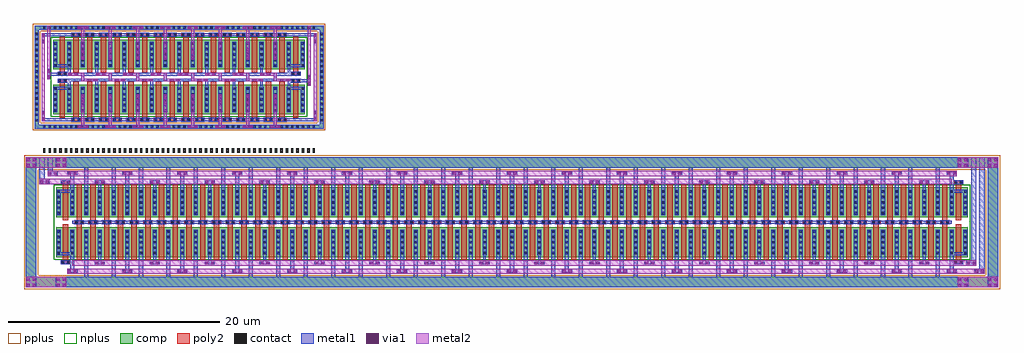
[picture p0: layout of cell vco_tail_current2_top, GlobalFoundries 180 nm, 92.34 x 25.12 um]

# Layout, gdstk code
from math import pi, radians
import gdstk
lib = gdstk.Library(unit=1e-6, precision=5e-09)
def R(c, l, rs):  # rectangles x0, y0, x1, y1
    for r in rs: c.add(gdstk.rectangle(r[:2], r[2:], *l))
def A(c, l, x, y, w, h, nx, ny, dx, dy):  # array of equal rectangles
    R(c, l, [(x+i*dx, y+j*dy, x+i*dx+w, y+j*dy+h) for i in range(nx) for j in range(ny)])
comp = (22, 0)
poly2 = (30, 0)
pplus = (31, 0)
nplus = (32, 0)
contact = (33, 0)
metal1 = (34, 0)
via1 = (35, 0)
metal2 = (36, 0)

vco_tail_current_ncell2_ = lib.new_cell('vco_tail_current_ncell2_1$2$1')
R(vco_tail_current_ncell2_, comp, [(0,0.3,0.42,3.12), (0.42,0.3,1.3,3.12), (1.3,0.3,1.72,3.12)])
R(vco_tail_current_ncell2_, poly2, [(0.61,0,1.11,3.42)])
A(vco_tail_current_ncell2_, contact, 0.1, 0.58, 0.22, 0.22, 1, 5, 0, 0.51)
A(vco_tail_current_ncell2_, contact, 1.4, 0.58, 0.22, 0.22, 1, 5, 0, 0.51)
R(vco_tail_current_ncell2_, metal1, [(0.02,0.5,0.4,2.92), (1.32,0.5,1.7,2.92)])

c_vco_tail_current_ncell2_ = lib.new_cell('vco_tail_current_ncell2_4$1')
A(c_vco_tail_current_ncell2_, poly2, 0.425, 3.42, 0.87, 0.36, 4, 1, 1.3, 0)
R(c_vco_tail_current_ncell2_, contact, [(0.495,3.49,0.715,3.71), (1.005,3.49,1.225,3.71), (1.795,3.49,2.015,3.71), (2.305,3.49,2.525,3.71), (3.095,3.49,3.315,3.71), (3.605,3.49,3.825,3.71), (4.395,3.49,4.615,3.71), (4.905,3.49,5.125,3.71)])
A(c_vco_tail_current_ncell2_, metal1, 0.415, 3.41, 0.89, 0.38, 4, 1, 1.3, 0)
c_vco_tail_current_ncell2_.add(gdstk.Reference(vco_tail_current_ncell2_, (0,0)))
c_vco_tail_current_ncell2_.add(gdstk.Reference(vco_tail_current_ncell2_, (1.3,0)))
c_vco_tail_current_ncell2_.add(gdstk.Reference(vco_tail_current_ncell2_, (2.6,0)))
c_vco_tail_current_ncell2_.add(gdstk.Reference(vco_tail_current_ncell2_, (3.9,0)))

c_vco_tail_current_ncell2__ = lib.new_cell('vco_tail_current_ncell2_4_4')
R(c_vco_tail_current_ncell2__, via1, [(0.1,1.57,0.36,1.83), (0.62,1.57,0.88,1.83), (5.3,1.57,5.56,1.83), (5.82,1.57,6.08,1.83), (2.695,2.35,2.955,2.61), (3.215,2.35,3.475,2.61), (2.695,10.05,2.955,10.31), (3.215,10.05,3.475,10.31), (0.1,10.83,0.36,11.09), (0.62,10.83,0.88,11.09), (5.3,10.83,5.56,11.09), (5.82,10.83,6.08,11.09)])
c_vco_tail_current_ncell2__.add(gdstk.FlexPath([(0,10.96),(0.98,10.96)], 0.28, ends="flush", simple_path=True, layer=34, datatype=0))  # metal1
c_vco_tail_current_ncell2__.add(gdstk.FlexPath([(5.2,10.96),(6.18,10.96)], 0.28, ends="flush", simple_path=True, layer=34, datatype=0))  # metal1
c_vco_tail_current_ncell2__.add(gdstk.FlexPath([(0.485,11.99),(5.685,11.99)], 1, ends="flush", simple_path=True, layer=34, datatype=0))  # metal1
c_vco_tail_current_ncell2__.add(gdstk.FlexPath([(2.595,10.18),(3.575,10.18)], 0.28, ends="flush", simple_path=True, layer=34, datatype=0))  # metal1
c_vco_tail_current_ncell2__.add(gdstk.FlexPath([(3.085,9.43),(3.085,10.04)], 0.28, ends="flush", simple_path=True, layer=34, datatype=0))  # metal1
c_vco_tail_current_ncell2__.add(gdstk.FlexPath([(0.485,9.43),(0.485,10.82)], 0.38, ends="flush", simple_path=True, layer=34, datatype=0))  # metal1
c_vco_tail_current_ncell2__.add(gdstk.FlexPath([(5.685,9.43),(5.685,10.82)], 0.38, ends="flush", simple_path=True, layer=34, datatype=0))  # metal1
c_vco_tail_current_ncell2__.add(gdstk.FlexPath([(1.785,11.49),(1.785,9.43)], 0.38, ends="flush", simple_path=True, layer=34, datatype=0))  # metal1
c_vco_tail_current_ncell2__.add(gdstk.FlexPath([(4.385,11.49),(4.385,9.43)], 0.38, ends="flush", simple_path=True, layer=34, datatype=0))  # metal1
c_vco_tail_current_ncell2__.add(gdstk.FlexPath([(0,1.7),(0.98,1.7)], 0.28, ends="flush", simple_path=True, layer=34, datatype=0))  # metal1
c_vco_tail_current_ncell2__.add(gdstk.FlexPath([(5.2,1.7),(6.18,1.7)], 0.28, ends="flush", simple_path=True, layer=34, datatype=0))  # metal1
c_vco_tail_current_ncell2__.add(gdstk.FlexPath([(0.485,0.67),(5.685,0.67)], 1, ends="flush", simple_path=True, layer=34, datatype=0))  # metal1
c_vco_tail_current_ncell2__.add(gdstk.FlexPath([(2.595,2.48),(3.575,2.48)], 0.28, ends="flush", simple_path=True, layer=34, datatype=0))  # metal1
c_vco_tail_current_ncell2__.add(gdstk.FlexPath([(3.085,3.23),(3.085,2.62)], 0.28, ends="flush", simple_path=True, layer=34, datatype=0))  # metal1
c_vco_tail_current_ncell2__.add(gdstk.FlexPath([(0.485,3.23),(0.485,1.84)], 0.38, ends="flush", simple_path=True, layer=34, datatype=0))  # metal1
c_vco_tail_current_ncell2__.add(gdstk.FlexPath([(5.685,3.23),(5.685,1.84)], 0.38, ends="flush", simple_path=True, layer=34, datatype=0))  # metal1
c_vco_tail_current_ncell2__.add(gdstk.FlexPath([(1.785,1.17),(1.785,3.23)], 0.38, ends="flush", simple_path=True, layer=34, datatype=0))  # metal1
c_vco_tail_current_ncell2__.add(gdstk.FlexPath([(4.385,1.17),(4.385,3.23)], 0.38, ends="flush", simple_path=True, layer=34, datatype=0))  # metal1
c_vco_tail_current_ncell2__.add(gdstk.FlexPath([(5.685,6.33),(0.485,6.33)], 0.28, ends="flush", simple_path=True, layer=34, datatype=0))  # metal1
c_vco_tail_current_ncell2__.add(gdstk.FlexPath([(0.485,11.99),(5.685,11.99)], 1, ends="flush", simple_path=True, layer=22, datatype=0))  # comp
c_vco_tail_current_ncell2__.add(gdstk.FlexPath([(0.485,0.67),(5.685,0.67)], 1, ends="flush", simple_path=True, layer=22, datatype=0))  # comp
c_vco_tail_current_ncell2__.add(gdstk.FlexPath([(0.485,10.18),(5.685,10.18)], 0.5, ends="flush", simple_path=True, layer=36, datatype=0))  # metal2
c_vco_tail_current_ncell2__.add(gdstk.FlexPath([(0.485,2.48),(5.685,2.48)], 0.5, ends="flush", simple_path=True, layer=36, datatype=0))  # metal2
c_vco_tail_current_ncell2__.add(gdstk.FlexPath([(0.485,10.96),(5.685,10.96)], 0.5, ends="flush", simple_path=True, layer=36, datatype=0))  # metal2
c_vco_tail_current_ncell2__.add(gdstk.FlexPath([(0.485,1.7),(5.685,1.7)], 0.5, ends="flush", simple_path=True, layer=36, datatype=0))  # metal2
c_vco_tail_current_ncell2__.add(gdstk.FlexPath([(0.485,11.99),(5.685,11.99)], 1.34, ends="flush", simple_path=True, layer=31, datatype=0))  # pplus
c_vco_tail_current_ncell2__.add(gdstk.FlexPath([(0.485,0.67),(5.685,0.67)], 1.34, ends="flush", simple_path=True, layer=31, datatype=0))  # pplus
c_vco_tail_current_ncell2__.add(gdstk.Reference(c_vco_tail_current_ncell2_, (0.275,2.73)))
c_vco_tail_current_ncell2__.add(gdstk.Reference(c_vco_tail_current_ncell2_, (0.275,9.93), x_reflection=True))

c_vco_tail_current_ncell2___ = lib.new_cell('vco_tail_current_ncell2_1$1')
R(c_vco_tail_current_ncell2___, comp, [(0,0.3,0.42,3.12), (0.42,0.3,1.3,3.12), (1.3,0.3,1.72,3.12)])
R(c_vco_tail_current_ncell2___, poly2, [(0.61,0,1.11,3.42)])
A(c_vco_tail_current_ncell2___, contact, 0.1, 0.58, 0.22, 0.22, 1, 5, 0, 0.51)
A(c_vco_tail_current_ncell2___, contact, 1.4, 0.58, 0.22, 0.22, 1, 5, 0, 0.51)
R(c_vco_tail_current_ncell2___, metal1, [(0.02,0.5,0.4,2.92), (1.32,0.5,1.7,2.92)])

c_vco_tail_current_ncell2____ = lib.new_cell('vco_tail_current_ncell2_1_2')
R(c_vco_tail_current_ncell2____, poly2, [(0.41,0.01,1.28,0.37), (0.41,0.01,1.28,0.37), (0.41,7.57,1.28,7.93), (0.41,7.57,1.28,7.93)])
R(c_vco_tail_current_ncell2____, contact, [(0.48,0.08,0.7,0.3), (0.48,0.08,0.7,0.3), (0.99,0.08,1.21,0.3), (0.99,0.08,1.21,0.3), (0.48,7.64,0.7,7.86), (0.48,7.64,0.7,7.86), (0.99,7.64,1.21,7.86), (0.99,7.64,1.21,7.86)])
R(c_vco_tail_current_ncell2____, metal1, [(0.4,0,1.29,0.38), (0.4,0,1.29,0.38), (0.4,7.56,1.29,7.94), (0.4,7.56,1.29,7.94)])
c_vco_tail_current_ncell2____.add(gdstk.FlexPath([(1.32,1.01),(0.4,1.01)], 0.28, ends="flush", simple_path=True, layer=34, datatype=0))  # metal1
c_vco_tail_current_ncell2____.add(gdstk.FlexPath([(1.32,6.93),(0.4,6.93)], 0.28, ends="flush", simple_path=True, layer=34, datatype=0))  # metal1
c_vco_tail_current_ncell2____.add(gdstk.Reference(c_vco_tail_current_ncell2___, (0,0.37)))
c_vco_tail_current_ncell2____.add(gdstk.Reference(c_vco_tail_current_ncell2___, (0,7.57), x_reflection=True))

m1_m2 = lib.new_cell('M1_M2')
R(m1_m2, via1, [(0.1,0.01,0.36,0.27), (0.62,0.01,0.88,0.27)])
m1_m2.add(gdstk.FlexPath([(0,0.14),(0.98,0.14)], 0.28, ends="flush", simple_path=True, layer=34, datatype=0))  # metal1
m1_m2.add(gdstk.FlexPath([(0,0.14),(0.98,0.14)], 0.28, ends="flush", simple_path=True, layer=36, datatype=0))  # metal2

d2s_tail_current_ncell_1 = lib.new_cell('d2s_tail_current_ncell_1$2')
R(d2s_tail_current_ncell_1, comp, [(0,0.3,0.42,3.12), (0.42,0.3,1.3,3.12), (1.3,0.3,1.72,3.12)])
R(d2s_tail_current_ncell_1, poly2, [(0.61,0,1.11,3.42)])
A(d2s_tail_current_ncell_1, contact, 0.1, 0.58, 0.22, 0.22, 1, 5, 0, 0.51)
A(d2s_tail_current_ncell_1, contact, 1.4, 0.58, 0.22, 0.22, 1, 5, 0, 0.51)
R(d2s_tail_current_ncell_1, metal1, [(0.02,0.5,0.4,2.92), (1.32,0.5,1.7,2.92)])

c_d2s_tail_current_ncell_1 = lib.new_cell('d2s_tail_current_ncell_1$1$1$1')
R(c_d2s_tail_current_ncell_1, comp, [(0,0.3,0.42,3.12), (0.42,0.3,1.3,3.12), (1.3,0.3,1.72,3.12)])
R(c_d2s_tail_current_ncell_1, poly2, [(0.61,0,1.11,3.42)])
A(c_d2s_tail_current_ncell_1, contact, 0.1, 0.58, 0.22, 0.22, 1, 5, 0, 0.51)
A(c_d2s_tail_current_ncell_1, contact, 1.4, 0.58, 0.22, 0.22, 1, 5, 0, 0.51)
R(c_d2s_tail_current_ncell_1, metal1, [(0.02,0.5,0.4,2.92), (1.32,0.5,1.7,2.92)])

d2s_tail_current_ncell_4 = lib.new_cell('d2s_tail_current_ncell_4$1$1')
A(d2s_tail_current_ncell_4, poly2, 0.425, 3.42, 0.87, 0.36, 4, 1, 1.3, 0)
R(d2s_tail_current_ncell_4, contact, [(0.495,3.49,0.715,3.71), (1.005,3.49,1.225,3.71), (1.795,3.49,2.015,3.71), (2.305,3.49,2.525,3.71), (3.095,3.49,3.315,3.71), (3.605,3.49,3.825,3.71), (4.395,3.49,4.615,3.71), (4.905,3.49,5.125,3.71)])
A(d2s_tail_current_ncell_4, metal1, 0.415, 3.41, 0.89, 0.38, 4, 1, 1.3, 0)
d2s_tail_current_ncell_4.add(gdstk.Reference(c_d2s_tail_current_ncell_1, (0,0)))
d2s_tail_current_ncell_4.add(gdstk.Reference(c_d2s_tail_current_ncell_1, (1.3,0)))
d2s_tail_current_ncell_4.add(gdstk.Reference(c_d2s_tail_current_ncell_1, (2.6,0)))
d2s_tail_current_ncell_4.add(gdstk.Reference(c_d2s_tail_current_ncell_1, (3.9,0)))

c_d2s_tail_current_ncell_4 = lib.new_cell('d2s_tail_current_ncell_4_4$1')
R(c_d2s_tail_current_ncell_4, via1, [(1.12,0.23,1.38,0.49), (1.64,0.23,1.9,0.49), (3.72,0.23,3.98,0.49), (4.24,0.23,4.5,0.49), (1.38,2.52,1.64,2.78), (3.98,2.52,4.24,2.78), (1.38,3.04,1.64,3.3), (3.98,3.04,4.24,3.3), (2.03,4.63,2.29,4.89), (2.55,4.63,2.81,4.89), (4.63,4.63,4.89,4.89), (5.15,4.63,5.41,4.89), (0.21,5.19,0.47,5.45), (0.73,5.19,0.99,5.45), (2.81,5.19,3.07,5.45), (3.33,5.19,3.59,5.45), (1.38,6.78,1.64,7.04), (3.98,6.78,4.24,7.04), (1.38,7.3,1.64,7.56), (3.98,7.3,4.24,7.56), (1.12,9.59,1.38,9.85), (1.64,9.59,1.9,9.85), (3.72,9.59,3.98,9.85), (4.24,9.59,4.5,9.85)])
c_d2s_tail_current_ncell_4.add(gdstk.FlexPath([(1.305,1.02),(5.41,1.02)], 0.28, ends="flush", simple_path=True, layer=34, datatype=0))  # metal1
c_d2s_tail_current_ncell_4.add(gdstk.FlexPath([(2.81,5.96),(2.81,5.46)], 0.28, ends="flush", simple_path=True, layer=34, datatype=0))  # metal1
c_d2s_tail_current_ncell_4.add(gdstk.FlexPath([(0.21,9.72),(5.41,9.72)], 0.38, ends="flush", simple_path=True, layer=34, datatype=0))  # metal1
c_d2s_tail_current_ncell_4.add(gdstk.FlexPath([(2.81,4.12),(2.81,4.62)], 0.28, ends="flush", simple_path=True, layer=34, datatype=0))  # metal1
c_d2s_tail_current_ncell_4.add(gdstk.FlexPath([(0.21,4.12),(0.21,4.62)], 0.28, ends="flush", simple_path=True, layer=34, datatype=0))  # metal1
c_d2s_tail_current_ncell_4.add(gdstk.FlexPath([(0.21,5.96),(0.21,5.46)], 0.28, ends="flush", simple_path=True, layer=34, datatype=0))  # metal1
c_d2s_tail_current_ncell_4.add(gdstk.FlexPath([(2.91,5.32),(1.51,5.32),(1.51,4.76),(0.07,4.76)], 0.28, ends="flush", simple_path=True, layer=34, datatype=0))  # metal1
c_d2s_tail_current_ncell_4.add(gdstk.FlexPath([(1.09,5.32),(0.07,5.32)], 0.28, ends="flush", simple_path=True, layer=34, datatype=0))  # metal1
c_d2s_tail_current_ncell_4.add(gdstk.FlexPath([(5.41,4.12),(5.41,4.62)], 0.28, ends="flush", simple_path=True, layer=34, datatype=0))  # metal1
c_d2s_tail_current_ncell_4.add(gdstk.FlexPath([(5.55,5.32),(4.11,5.32),(4.11,4.76),(2.71,4.76)], 0.28, ends="flush", simple_path=True, layer=34, datatype=0))  # metal1
c_d2s_tail_current_ncell_4.add(gdstk.FlexPath([(3.69,5.32),(2.71,5.32)], 0.28, ends="flush", simple_path=True, layer=34, datatype=0))  # metal1
c_d2s_tail_current_ncell_4.add(gdstk.FlexPath([(5.41,5.96),(5.41,5.46)], 0.28, ends="flush", simple_path=True, layer=34, datatype=0))  # metal1
c_d2s_tail_current_ncell_4.add(gdstk.FlexPath([(2.81,4.12),(2.81,4.62)], 0.28, ends="flush", simple_path=True, layer=34, datatype=0))  # metal1
c_d2s_tail_current_ncell_4.add(gdstk.FlexPath([(5.55,4.76),(4.53,4.76)], 0.28, ends="flush", simple_path=True, layer=34, datatype=0))  # metal1
c_d2s_tail_current_ncell_4.add(gdstk.FlexPath([(2.81,5.96),(2.81,5.46)], 0.28, ends="flush", simple_path=True, layer=34, datatype=0))  # metal1
c_d2s_tail_current_ncell_4.add(gdstk.FlexPath([(2.91,4.76),(1.93,4.76)], 0.28, ends="flush", simple_path=True, layer=34, datatype=0))  # metal1
c_d2s_tail_current_ncell_4.add(gdstk.FlexPath([(1.305,9.06),(5.41,9.06)], 0.28, ends="flush", simple_path=True, layer=34, datatype=0))  # metal1
c_d2s_tail_current_ncell_4.add(gdstk.FlexPath([(0.21,0.36),(5.41,0.36)], 0.38, ends="flush", simple_path=True, layer=34, datatype=0))  # metal1
c_d2s_tail_current_ncell_4.add(gdstk.FlexPath([(0.21,9.72),(5.41,9.72)], 0.38, ends="flush", simple_path=True, layer=22, datatype=0))  # comp
c_d2s_tail_current_ncell_4.add(gdstk.FlexPath([(0.21,0.36),(5.41,0.36)], 0.38, ends="flush", simple_path=True, layer=22, datatype=0))  # comp
c_d2s_tail_current_ncell_4.add(gdstk.FlexPath([(2.91,4.76),(1.51,4.76),(1.51,5.32),(0.11,5.32)], 0.28, ends="flush", simple_path=True, layer=36, datatype=0))  # metal2
c_d2s_tail_current_ncell_4.add(gdstk.FlexPath([(5.51,4.76),(4.11,4.76),(4.11,5.32),(2.71,5.32)], 0.28, ends="flush", simple_path=True, layer=36, datatype=0))  # metal2
c_d2s_tail_current_ncell_4.add(gdstk.FlexPath([(4.11,6.68),(4.11,7.66)], 0.28, ends="flush", simple_path=True, layer=36, datatype=0))  # metal2
c_d2s_tail_current_ncell_4.add(gdstk.FlexPath([(1.51,6.68),(1.51,7.66)], 0.28, ends="flush", simple_path=True, layer=36, datatype=0))  # metal2
c_d2s_tail_current_ncell_4.add(gdstk.FlexPath([(4.11,2.42),(4.11,3.4)], 0.28, ends="flush", simple_path=True, layer=36, datatype=0))  # metal2
c_d2s_tail_current_ncell_4.add(gdstk.FlexPath([(1.51,2.42),(1.51,3.4)], 0.28, ends="flush", simple_path=True, layer=36, datatype=0))  # metal2
c_d2s_tail_current_ncell_4.add(gdstk.FlexPath([(1.02,9.72),(2,9.72)], 0.28, ends="flush", simple_path=True, layer=36, datatype=0))  # metal2
c_d2s_tail_current_ncell_4.add(gdstk.FlexPath([(1.51,7.66),(1.51,9.58)], 0.28, ends="flush", simple_path=True, layer=36, datatype=0))  # metal2
c_d2s_tail_current_ncell_4.add(gdstk.FlexPath([(4.11,7.66),(4.11,9.58)], 0.28, ends="flush", simple_path=True, layer=36, datatype=0))  # metal2
c_d2s_tail_current_ncell_4.add(gdstk.FlexPath([(3.62,9.72),(4.6,9.72)], 0.28, ends="flush", simple_path=True, layer=36, datatype=0))  # metal2
c_d2s_tail_current_ncell_4.add(gdstk.FlexPath([(1.02,0.36),(2,0.36)], 0.28, ends="flush", simple_path=True, layer=36, datatype=0))  # metal2
c_d2s_tail_current_ncell_4.add(gdstk.FlexPath([(1.51,2.42),(1.51,0.5)], 0.28, ends="flush", simple_path=True, layer=36, datatype=0))  # metal2
c_d2s_tail_current_ncell_4.add(gdstk.FlexPath([(4.11,2.42),(4.11,0.5)], 0.28, ends="flush", simple_path=True, layer=36, datatype=0))  # metal2
c_d2s_tail_current_ncell_4.add(gdstk.FlexPath([(3.62,0.36),(4.6,0.36)], 0.28, ends="flush", simple_path=True, layer=36, datatype=0))  # metal2
c_d2s_tail_current_ncell_4.add(gdstk.FlexPath([(0.21,9.72),(5.41,9.72)], 0.72, ends="flush", simple_path=True, layer=31, datatype=0))  # pplus
c_d2s_tail_current_ncell_4.add(gdstk.FlexPath([(0.21,0.36),(5.41,0.36)], 0.72, ends="flush", simple_path=True, layer=31, datatype=0))  # pplus
c_d2s_tail_current_ncell_4.add(gdstk.Reference(d2s_tail_current_ncell_4, (0,5.46)))
c_d2s_tail_current_ncell_4.add(gdstk.Reference(d2s_tail_current_ncell_4, (0,4.62), x_reflection=True))

m1_m2_1 = lib.new_cell('M1_M2$1')
R(m1_m2_1, via1, [(0.1,0.01,0.36,0.27), (0.62,0.01,0.88,0.27)])
m1_m2_1.add(gdstk.FlexPath([(0,0.14),(0.98,0.14)], 0.28, ends="flush", simple_path=True, layer=34, datatype=0))  # metal1
m1_m2_1.add(gdstk.FlexPath([(0,0.14),(0.98,0.14)], 0.28, ends="flush", simple_path=True, layer=36, datatype=0))  # metal2

vco_tail_current2_top = lib.new_cell('vco_tail_current2_top')
R(vco_tail_current2_top, poly2, [(9.115,35.71,9.985,36.07), (31.215,35.71,32.085,36.07), (9.115,36.37,9.985,36.73), (31.215,36.37,32.085,36.73)])
R(vco_tail_current2_top, nplus, [(8.75,18.935,95.45,26.015), (8.45,32.44,32.75,40)])
A(vco_tail_current2_top, contact, 7.74, 29.05, 0.22, 0.22, 51, 2, 0.51, 0.22)
A(vco_tail_current2_top, contact, 7.74, 31.43, 0.22, 0.22, 51, 2, 0.51, 9.36)
A(vco_tail_current2_top, contact, 7.01, 32.03, 0.22, 0.22, 1, 17, 0, 0.51)
A(vco_tail_current2_top, contact, 33.97, 32.03, 0.22, 0.22, 1, 17, 0, 0.51)
R(vco_tail_current2_top, contact, [(9.185,35.78,9.405,36), (9.695,35.78,9.915,36), (31.285,35.78,31.505,36), (31.795,35.78,32.015,36), (9.185,36.44,9.405,36.66), (9.695,36.44,9.915,36.66), (31.285,36.44,31.505,36.66), (31.795,36.44,32.015,36.66)])
R(vco_tail_current2_top, metal1, [(95.84,17.595,96.32,18.095), (95.06,18.375,95.54,18.875), (7.88,26.075,8.36,26.575), (8.66,26.855,9.14,27.355), (9.105,35.7,9.995,36.08), (9.995,35.7,10.06,36.08), (31.14,35.7,31.205,36.08), (31.205,35.7,32.095,36.08), (9.105,36.36,9.995,36.74), (9.995,36.36,10.06,36.74), (31.14,36.36,31.205,36.74), (31.205,36.36,32.095,36.74)])
vco_tail_current2_top.add(gdstk.FlexPath([(8.41,26.855),(8.41,28.635)], 0.5, ends="flush", simple_path=True, layer=34, datatype=0))  # metal1
vco_tail_current2_top.add(gdstk.FlexPath([(7.63,26.075),(7.63,28.635)], 0.5, ends="flush", simple_path=True, layer=34, datatype=0))  # metal1
vco_tail_current2_top.add(gdstk.FlexPath([(96.57,17.595),(96.57,28.635)], 0.5, ends="flush", simple_path=True, layer=34, datatype=0))  # metal1
vco_tail_current2_top.add(gdstk.FlexPath([(95.79,18.375),(95.79,28.635)], 0.5, ends="flush", simple_path=True, layer=34, datatype=0))  # metal1
vco_tail_current2_top.add(gdstk.FlexPath([(6.6,28.635),(6.6,16.315)], 1, ends="flush", simple_path=True, layer=34, datatype=0))  # metal1
vco_tail_current2_top.add(gdstk.FlexPath([(10.5,28.135),(8.94,28.135)], 1, ends="flush", simple_path=True, layer=34, datatype=0))  # metal1
vco_tail_current2_top.add(gdstk.FlexPath([(10.5,16.815),(8.94,16.815)], 1, ends="flush", simple_path=True, layer=34, datatype=0))  # metal1
vco_tail_current2_top.add(gdstk.FlexPath([(10.5,16.815),(8.94,16.815)], 1, ends="flush", simple_path=True, layer=34, datatype=0))  # metal1
vco_tail_current2_top.add(gdstk.FlexPath([(97.6,28.635),(97.6,16.315)], 1, ends="flush", simple_path=True, layer=34, datatype=0))  # metal1
vco_tail_current2_top.add(gdstk.FlexPath([(93.7,28.135),(95.26,28.135)], 1, ends="flush", simple_path=True, layer=34, datatype=0))  # metal1
vco_tail_current2_top.add(gdstk.FlexPath([(93.7,16.815),(95.26,16.815)], 1, ends="flush", simple_path=True, layer=34, datatype=0))  # metal1
vco_tail_current2_top.add(gdstk.FlexPath([(93.7,16.815),(95.26,16.815)], 1, ends="flush", simple_path=True, layer=34, datatype=0))  # metal1
vco_tail_current2_top.add(gdstk.FlexPath([(31,40.9),(34.08,40.9),(34.08,31.54),(31,31.54)], 0.38, ends="flush", simple_path=True, layer=34, datatype=0))  # metal1
vco_tail_current2_top.add(gdstk.FlexPath([(10.2,40.9),(7.12,40.9),(7.12,31.54),(10.2,31.54)], 0.38, ends="flush", simple_path=True, layer=34, datatype=0))  # metal1
vco_tail_current2_top.add(gdstk.FlexPath([(20.395,40.24),(20.805,40.24)], 0.28, ends="flush", simple_path=True, layer=34, datatype=0))  # metal1
vco_tail_current2_top.add(gdstk.FlexPath([(20.395,32.2),(20.805,32.2)], 0.28, ends="flush", simple_path=True, layer=34, datatype=0))  # metal1
vco_tail_current2_top.add(gdstk.FlexPath([(32.11,37.28),(31.19,37.28)], 0.28, ends="flush", simple_path=True, layer=34, datatype=0))  # metal1
vco_tail_current2_top.add(gdstk.FlexPath([(32.11,35.16),(31.19,35.16)], 0.28, ends="flush", simple_path=True, layer=34, datatype=0))  # metal1
vco_tail_current2_top.add(gdstk.FlexPath([(9.09,37.28),(10.01,37.28)], 0.28, ends="flush", simple_path=True, layer=34, datatype=0))  # metal1
vco_tail_current2_top.add(gdstk.FlexPath([(9.09,35.16),(10.01,35.16)], 0.28, ends="flush", simple_path=True, layer=34, datatype=0))  # metal1
vco_tail_current2_top.add(gdstk.FlexPath([(9.105,36.5),(8.43,36.5)], 0.28, ends="flush", simple_path=True, layer=34, datatype=0))  # metal1
vco_tail_current2_top.add(gdstk.FlexPath([(30.795,40.24),(33.61,40.24)], 0.28, ends="flush", simple_path=True, layer=34, datatype=0))  # metal1
vco_tail_current2_top.add(gdstk.FlexPath([(30.795,32.2),(33.61,32.2)], 0.28, ends="flush", simple_path=True, layer=34, datatype=0))  # metal1
vco_tail_current2_top.add(gdstk.FlexPath([(10.405,32.2),(7.59,32.2)], 0.28, ends="flush", simple_path=True, layer=34, datatype=0))  # metal1
vco_tail_current2_top.add(gdstk.FlexPath([(10.405,40.24),(7.59,40.24)], 0.28, ends="flush", simple_path=True, layer=34, datatype=0))  # metal1
vco_tail_current2_top.add(gdstk.FlexPath([(32.095,35.89),(32.77,35.89)], 0.28, ends="flush", simple_path=True, layer=34, datatype=0))  # metal1
vco_tail_current2_top.add(gdstk.FlexPath([(10.5,28.135),(6.6,28.135),(6.6,16.815),(10.5,16.815)], 1, ends="flush", simple_path=True, layer=22, datatype=0))  # comp
vco_tail_current2_top.add(gdstk.FlexPath([(93.7,28.135),(97.6,28.135),(97.6,16.815),(93.7,16.815)], 1, ends="flush", simple_path=True, layer=22, datatype=0))  # comp
vco_tail_current2_top.add(gdstk.FlexPath([(31,40.9),(34.08,40.9),(34.08,31.54),(31,31.54)], 0.38, ends="flush", simple_path=True, layer=22, datatype=0))  # comp
vco_tail_current2_top.add(gdstk.FlexPath([(10.2,40.9),(7.12,40.9),(7.12,31.54),(10.2,31.54)], 0.38, ends="flush", simple_path=True, layer=22, datatype=0))  # comp
vco_tail_current2_top.add(gdstk.FlexPath([(10.5,26.325),(7.38,26.325)], 0.5, ends="flush", simple_path=True, layer=36, datatype=0))  # metal2
vco_tail_current2_top.add(gdstk.FlexPath([(10.5,27.105),(8.16,27.105)], 0.5, ends="flush", simple_path=True, layer=36, datatype=0))  # metal2
vco_tail_current2_top.add(gdstk.FlexPath([(93.7,18.625),(96.04,18.625)], 0.5, ends="flush", simple_path=True, layer=36, datatype=0))  # metal2
vco_tail_current2_top.add(gdstk.FlexPath([(93.7,17.845),(96.82,17.845)], 0.5, ends="flush", simple_path=True, layer=36, datatype=0))  # metal2
vco_tail_current2_top.add(gdstk.FlexPath([(6.1,28.135),(9.94,28.135)], 1, ends="flush", simple_path=True, layer=36, datatype=0))  # metal2
vco_tail_current2_top.add(gdstk.FlexPath([(6.1,16.815),(9.94,16.815)], 1, ends="flush", simple_path=True, layer=36, datatype=0))  # metal2
vco_tail_current2_top.add(gdstk.FlexPath([(98.1,28.135),(94.26,28.135)], 1, ends="flush", simple_path=True, layer=36, datatype=0))  # metal2
vco_tail_current2_top.add(gdstk.FlexPath([(98.1,16.815),(94.26,16.815)], 1, ends="flush", simple_path=True, layer=36, datatype=0))  # metal2
vco_tail_current2_top.add(gdstk.FlexPath([(93.7,27.105),(94.195,27.105)], 0.5, ends="flush", simple_path=True, layer=36, datatype=0))  # metal2
vco_tail_current2_top.add(gdstk.FlexPath([(10.5,17.845),(10.015,17.845)], 0.5, ends="flush", simple_path=True, layer=36, datatype=0))  # metal2
vco_tail_current2_top.add(gdstk.FlexPath([(32.91,41.09),(32.91,35.4)], 0.28, ends="flush", simple_path=True, layer=36, datatype=0))  # metal2
vco_tail_current2_top.add(gdstk.FlexPath([(8.29,41.09),(8.29,36.01)], 0.28, ends="flush", simple_path=True, layer=36, datatype=0))  # metal2
vco_tail_current2_top.add(gdstk.FlexPath([(33.47,40.38),(33.47,32.06)], 0.28, ends="flush", simple_path=True, layer=36, datatype=0))  # metal2
vco_tail_current2_top.add(gdstk.FlexPath([(7.73,40.38),(7.73,32.06)], 0.28, ends="flush", simple_path=True, layer=36, datatype=0))  # metal2
vco_tail_current2_top.add(gdstk.FlexPath([(10.5,28.135),(6.6,28.135),(6.6,16.815),(10.5,16.815)], 1.34, ends="flush", simple_path=True, layer=31, datatype=0))  # pplus
vco_tail_current2_top.add(gdstk.FlexPath([(93.7,28.135),(97.6,28.135),(97.6,16.815),(93.7,16.815)], 1.34, ends="flush", simple_path=True, layer=31, datatype=0))  # pplus
vco_tail_current2_top.add(gdstk.FlexPath([(31,40.9),(34.08,40.9),(34.08,31.54),(31,31.54)], 0.72, ends="flush", simple_path=True, layer=31, datatype=0))  # pplus
vco_tail_current2_top.add(gdstk.FlexPath([(10.2,40.9),(7.12,40.9),(7.12,31.54),(10.2,31.54)], 0.72, ends="flush", simple_path=True, layer=31, datatype=0))  # pplus
vco_tail_current2_top.add(gdstk.Reference(c_vco_tail_current_ncell2__, (10.015,16.145)))
vco_tail_current2_top.add(gdstk.Reference(c_vco_tail_current_ncell2__, (15.215,16.145)))
vco_tail_current2_top.add(gdstk.Reference(c_vco_tail_current_ncell2__, (20.415,16.145)))
vco_tail_current2_top.add(gdstk.Reference(c_vco_tail_current_ncell2__, (25.615,16.145)))
vco_tail_current2_top.add(gdstk.Reference(c_vco_tail_current_ncell2__, (30.815,16.145)))
vco_tail_current2_top.add(gdstk.Reference(c_vco_tail_current_ncell2__, (36.015,16.145)))
vco_tail_current2_top.add(gdstk.Reference(c_vco_tail_current_ncell2__, (41.215,16.145)))
vco_tail_current2_top.add(gdstk.Reference(c_vco_tail_current_ncell2__, (46.415,16.145)))
vco_tail_current2_top.add(gdstk.Reference(c_vco_tail_current_ncell2__, (51.615,16.145)))
vco_tail_current2_top.add(gdstk.Reference(c_vco_tail_current_ncell2__, (56.815,16.145)))
vco_tail_current2_top.add(gdstk.Reference(c_vco_tail_current_ncell2__, (62.015,16.145)))
vco_tail_current2_top.add(gdstk.Reference(c_vco_tail_current_ncell2__, (67.215,16.145)))
vco_tail_current2_top.add(gdstk.Reference(c_vco_tail_current_ncell2__, (72.415,16.145)))
vco_tail_current2_top.add(gdstk.Reference(c_vco_tail_current_ncell2__, (77.615,16.145)))
vco_tail_current2_top.add(gdstk.Reference(c_vco_tail_current_ncell2__, (82.815,16.145)))
vco_tail_current2_top.add(gdstk.Reference(c_vco_tail_current_ncell2__, (88.015,16.145)))
vco_tail_current2_top.add(gdstk.Reference(c_vco_tail_current_ncell2____, (10.71,18.505), rotation=pi, x_reflection=True))
vco_tail_current2_top.add(gdstk.Reference(c_vco_tail_current_ncell2____, (93.49,18.505)))
vco_tail_current2_top.add(gdstk.Reference(m1_m2, (9.14,27.245), rotation=pi))
vco_tail_current2_top.add(gdstk.Reference(m1_m2, (8.36,26.465), rotation=pi))
vco_tail_current2_top.add(gdstk.Reference(m1_m2, (95.84,17.985), x_reflection=True))
vco_tail_current2_top.add(gdstk.Reference(m1_m2, (95.06,18.765), x_reflection=True))
vco_tail_current2_top.add(gdstk.Reference(m1_m2, (6.73,28.625), rotation=3*pi/2))
vco_tail_current2_top.add(gdstk.Reference(m1_m2, (6.19,28.625), rotation=3*pi/2))
vco_tail_current2_top.add(gdstk.Reference(m1_m2, (9.57,28.625), rotation=3*pi/2))
vco_tail_current2_top.add(gdstk.Reference(m1_m2, (9.03,28.625), rotation=3*pi/2))
vco_tail_current2_top.add(gdstk.Reference(m1_m2, (6.73,17.305), rotation=3*pi/2))
vco_tail_current2_top.add(gdstk.Reference(m1_m2, (6.19,17.305), rotation=3*pi/2))
vco_tail_current2_top.add(gdstk.Reference(m1_m2, (9.57,17.305), rotation=3*pi/2))
vco_tail_current2_top.add(gdstk.Reference(m1_m2, (9.03,17.305), rotation=3*pi/2))
vco_tail_current2_top.add(gdstk.Reference(m1_m2, (97.47,28.625), rotation=3*pi/2, x_reflection=True))
vco_tail_current2_top.add(gdstk.Reference(m1_m2, (98.01,28.625), rotation=3*pi/2, x_reflection=True))
vco_tail_current2_top.add(gdstk.Reference(m1_m2, (94.63,28.625), rotation=3*pi/2, x_reflection=True))
vco_tail_current2_top.add(gdstk.Reference(m1_m2, (95.17,28.625), rotation=3*pi/2, x_reflection=True))
vco_tail_current2_top.add(gdstk.Reference(m1_m2, (97.47,17.305), rotation=3*pi/2, x_reflection=True))
vco_tail_current2_top.add(gdstk.Reference(m1_m2, (98.01,17.305), rotation=3*pi/2, x_reflection=True))
vco_tail_current2_top.add(gdstk.Reference(m1_m2, (94.63,17.305), rotation=3*pi/2, x_reflection=True))
vco_tail_current2_top.add(gdstk.Reference(m1_m2, (95.17,17.305), rotation=3*pi/2, x_reflection=True))
vco_tail_current2_top.add(gdstk.Reference(d2s_tail_current_ncell_1, (30.79,36.64)))
vco_tail_current2_top.add(gdstk.Reference(d2s_tail_current_ncell_1, (30.79,32.38)))
vco_tail_current2_top.add(gdstk.Reference(d2s_tail_current_ncell_1, (10.41,36.64), rotation=pi, x_reflection=True))
vco_tail_current2_top.add(gdstk.Reference(d2s_tail_current_ncell_1, (10.41,32.38), rotation=pi, x_reflection=True))
vco_tail_current2_top.add(gdstk.Reference(c_d2s_tail_current_ncell_4, (20.39,31.18)))
vco_tail_current2_top.add(gdstk.Reference(c_d2s_tail_current_ncell_4, (9.99,31.18)))
vco_tail_current2_top.add(gdstk.Reference(c_d2s_tail_current_ncell_4, (20.81,41.26), rotation=pi))
vco_tail_current2_top.add(gdstk.Reference(c_d2s_tail_current_ncell_4, (31.21,41.26), rotation=pi))
vco_tail_current2_top.add(gdstk.Reference(m1_m2_1, (33.61,39.4), rotation=pi/2))
vco_tail_current2_top.add(gdstk.Reference(m1_m2_1, (33.05,35.4), rotation=pi/2))
vco_tail_current2_top.add(gdstk.Reference(m1_m2_1, (7.59,33.04), rotation=3*pi/2))
vco_tail_current2_top.add(gdstk.Reference(m1_m2_1, (7.59,39.4), rotation=pi/2, x_reflection=True))
vco_tail_current2_top.add(gdstk.Reference(m1_m2_1, (8.15,36.01), rotation=pi/2, x_reflection=True))
vco_tail_current2_top.add(gdstk.Reference(m1_m2_1, (33.61,33.04), rotation=3*pi/2, x_reflection=True))

lib.write_gds('vco_tail_current2_top.gds')
